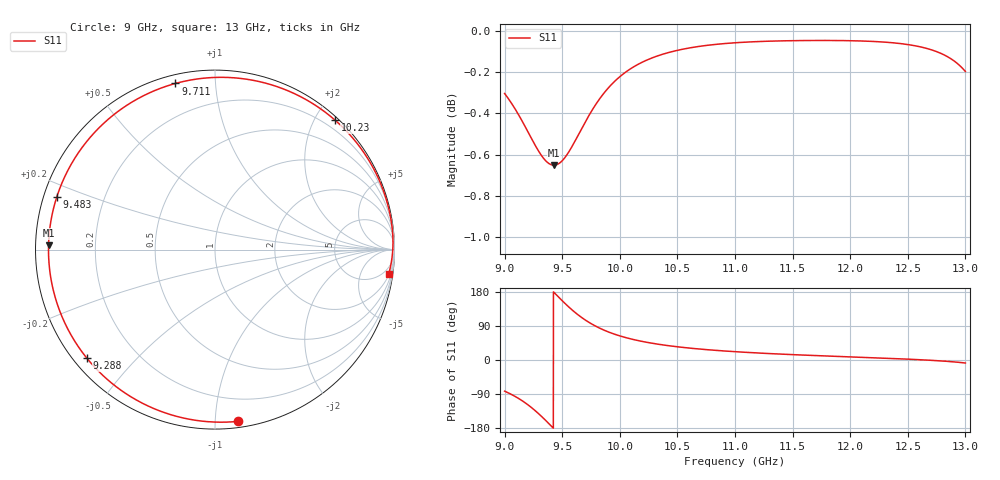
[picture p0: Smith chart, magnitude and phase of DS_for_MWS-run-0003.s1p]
! TOUCHSTONE file generated by CST DESIGN STUDIO
! Date and time: Tue Feb  4 16:22:49 2025
! Project name: C:\Work\MatlabApps\UnitCellOptimizationMatlab\CST\unitcell.cst
! Tree item: Tasks\Sweep1\SPara1\S-Parameters
! Header version: 2024
! Port assignment regex: !\s*Touchstone port\s*([0-9]+)\s*=\s*(CST MWS port|CST DES external port|CST DES block port)\s*(.+)\s* \(\"(.*)\"\)(\s*mode\s*([0-9]+))?.*
! Touchstone port assignment:
! Touchstone port 1 = CST DES external port 1 ("")
# GHz S MA R 50
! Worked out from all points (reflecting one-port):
!   4001 points, 9 GHz to 13 GHz, reference 50 ohm
!   lowest |S11| = -0.7 dB at 9.428 GHz (marker M1), VSWR 26.66, Z = 1.88 + j0.64 ohm
!   phase of S11 starts at -82 deg and turns -286 deg over the sweep
!   S11 on the Smith chart (normalised r, x): 9 GHz: 0.04, -1.14; 9.288 GHz: 0.04, -0.37; 9.483 GHz: 0.04, +0.16; 9.711 GHz: 0.04, +0.79; 10.23 GHz: 0.05, +2.29; 13 GHz: 2, -14
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9  0.9657 -82.2
9.089  0.9576 -95.7
9.161  0.9499 -109.2
9.226  0.9425 -123.8
9.288  0.9357 -139.7
9.362  0.9297 -161.1
9.395  0.9282 -171.2
9.428  0.9277 178.5
9.483  0.9291 161.5
9.5  0.93 156.4
9.553  0.9342 141.0
9.604  0.9395 127.4
9.656  0.9454 115.0
9.711  0.9516 103.4
9.776  0.9583 91.6
9.852  0.9651 80.3
9.924  0.9703 71.4
10  0.9748 63.6
10.106  0.9796 54.9
10.227  0.9837 47.1
10.5  0.9893 34.9
10.723  0.9918 28.1
11  0.9935 22.0
11.5  0.9946 14.2
12  0.9946 8.2
12.5  0.9925 2.3
12.784  0.9877 -2.3
13  0.9776 -7.9
